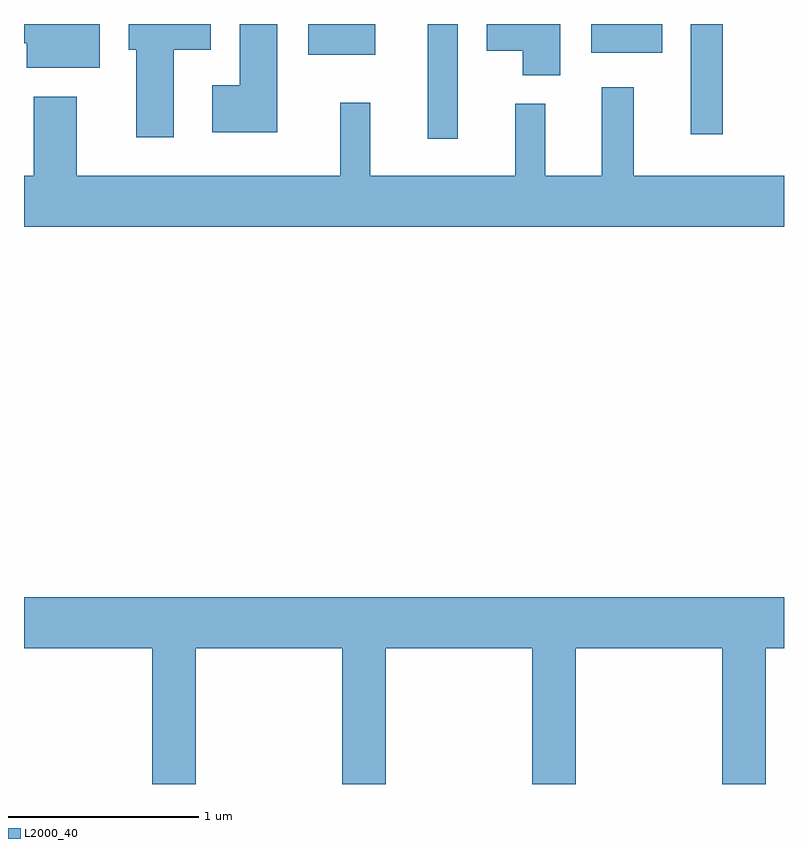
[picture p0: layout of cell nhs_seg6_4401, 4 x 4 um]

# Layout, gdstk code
import gdstk
lib = gdstk.Library(unit=1e-6, precision=1e-09)
def R(c, l, rs):  # rectangles x0, y0, x1, y1
    for r in rs: c.add(gdstk.rectangle(r[:2], r[2:], *l))
def P(c, l, *ps):  # polygons
    for p in ps: c.add(gdstk.Polygon(p, *l))
L2000_40 = (2000, 40)

nhs_seg6_4401 = lib.new_cell('nhs_seg6_4401')
R(nhs_seg6_4401, L2000_40, [(321.736,1601.558,321.894,1602.162), (323.121,1601.583,323.289,1602.162), (321.106,1602.001,321.459,1602.162), (322.596,1602.011,322.969,1602.162)])
P(nhs_seg6_4401, L2000_40, [(320.944,1602.162),(320.746,1602.162),(320.746,1601.839),(320.601,1601.839),(320.601,1601.591),(320.944,1601.591)],
  [(322.434,1602.162),(322.046,1602.162),(322.046,1602.021),(322.236,1602.021),(322.236,1601.891),(322.434,1601.891)],
  [(320.399,1602.026),(320.594,1602.026),(320.594,1602.162),(320.161,1602.162),(320.161,1602.026),(320.201,1602.026),(320.201,1601.566),(320.399,1601.566)],
  [(320.009,1602.162),(319.611,1602.162),(319.611,1602.061),(319.626,1602.061),(319.626,1601.931),(320.009,1601.931)],
  [(323.611,1601.364),(322.819,1601.364),(322.819,1601.828),(322.651,1601.828),(322.651,1601.364),(322.354,1601.364),(322.354,1601.743),(322.196,1601.743),(322.196,1601.364),(321.434,1601.364),(321.434,1601.748),(321.276,1601.748),(321.276,1601.364),(319.889,1601.364),(319.889,1601.779),(319.661,1601.779),(319.661,1601.364),(319.611,1601.364),(319.611,1601.096),(323.611,1601.096)],
  [(320.514,1598.876),(321.286,1598.876),(321.286,1598.162),(321.514,1598.162),(321.514,1598.876),(322.286,1598.876),(322.286,1598.162),(322.514,1598.162),(322.514,1598.876),(323.286,1598.876),(323.286,1598.162),(323.514,1598.162),(323.514,1598.876),(323.611,1598.876),(323.611,1599.144),(319.611,1599.144),(319.611,1598.876),(320.286,1598.876),(320.286,1598.162),(320.514,1598.162)])

lib.write_gds('nhs_seg6_4401.gds')
